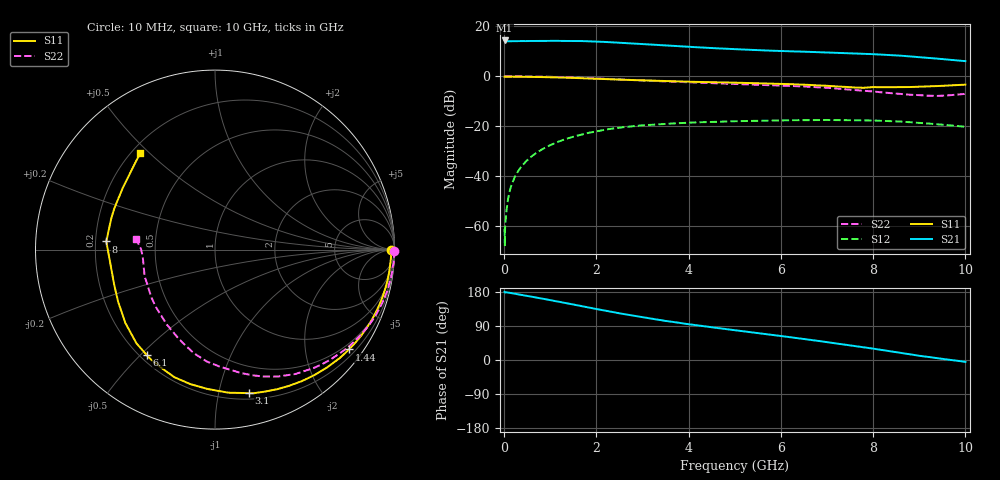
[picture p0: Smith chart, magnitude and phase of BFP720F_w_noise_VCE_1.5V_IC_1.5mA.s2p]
! Infineon Technologies  Discrete & RF Semiconductors
! BFP720F
! VCE =  1.5 V,  IC =  1.5 mA
! Common Emitter S-Parameters:  Jan 2016
# GHz  S  MA  R  50
!  f  S11  S21  S12  S22
! GHz  MAG  ANG  MAG  ANG  MAG  ANG  MAG  ANG
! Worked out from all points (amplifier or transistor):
!   233 points, 10 MHz to 10 GHz, reference 50 ohm
!   highest |S21| = 14.3 dB at 10 MHz (marker M1)
!   |S21| within 3 dB of that: start of sweep to 4.461 GHz
!   unconditionally stable (mu >= 1): nowhere
!   at 200 MHz: K = 0.01, MSG = 27.8 dB, |S12| = -41.6 dB
!   at 1.74 GHz: K = 0.13, MSG = 18.5 dB, |S12| = -23.0 dB
!   at 10 GHz: K = 0.90, MSG = 13.1 dB, |S12| = -20.2 dB
!   lowest NFmin = 0.44 dB at 450 MHz
!   S11 on the Smith chart (normalised r, x): 10 MHz: open; 1.44 GHz: 0.36, -2.98; 3.1 GHz: 0.25, -1.23; 6.1 GHz: 0.23, -0.52; 8 GHz: 0.24, +0.04; 10 GHz: 0.23, +0.47
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0.01  0.9807 -0.1  5.198 179.7  0.0009 -33.3  0.9983 -0.4
0.015  0.9814 -0.3  5.079 179.0  0.0004 27.0  0.9991 -0.7
0.02  0.9821 -0.4  4.961 178.2  0.0009 87.4  1 -1.0
0.03  0.9821 -0.7  4.975 178.4  0.0013 86.5  0.9993 -1.0
0.09  0.9818 -2.2  5.013 177.9  0.0038 88.0  0.9984 -1.7
0.18  0.9801 -4.4  5.03 176.0  0.0075 87.0  0.9978 -3.4
0.34  0.9776 -8.3  5.047 172.5  0.0142 84.1  0.9949 -6.5
0.9  0.9599 -22.6  5.115 160.3  0.0377 73.1  0.9791 -17.4
1.44  0.931 -36.7  5.06 147.9  0.0596 61.9  0.9477 -28.3
1.68  0.9143 -43.3  5.056 142.1  0.0685 56.8  0.93 -33.3
2.4  0.8641 -61.4  4.737 125.5  0.0913 41.9  0.8727 -47.3
3.1  0.8214 -76.8  4.347 111.0  0.1058 29.2  0.8172 -58.4
3.4  0.8045 -82.6  4.189 105.2  0.1104 24.3  0.7953 -62.3
4  0.7777 -93.0  3.888 94.4  0.1181 15.3  0.7577 -69.0
5.1  0.7406 -109.0  3.453 77.1  0.1267 1.1  0.6968 -79.0
6.1  0.7001 -122.8  3.174 61.8  0.1315 -11.0  0.6465 -89.0
6.8  0.6567 -136.3  3.031 50.5  0.1331 -19.7  0.6019 -98.6
7.4  0.6127 -151.8  2.892 40.4  0.1325 -27.6  0.5496 -109.1
8  0.6073 175.7  2.765 30.0  0.1305 -35.6  0.4962 -122.8
8.4  0.6035 163.6  2.647 22.5  0.1266 -41.6  0.4591 -135.9
9  0.6176 146.6  2.421 11.1  0.1175 -50.3  0.4191 -159.3
10  0.6797 127.9  2.004 -4.9  0.0976 -61.1  0.4444 172.5
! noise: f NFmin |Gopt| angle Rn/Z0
0.45  0.44  0.75  5  0.37
0.9  0.55  0.75  12  0.34
1.8  0.57  0.74  25  0.28
2.4  0.59  0.74  31  0.27
5.5  0.96  0.53  91  0.17
10  1.49  0.36  -141  0.14
